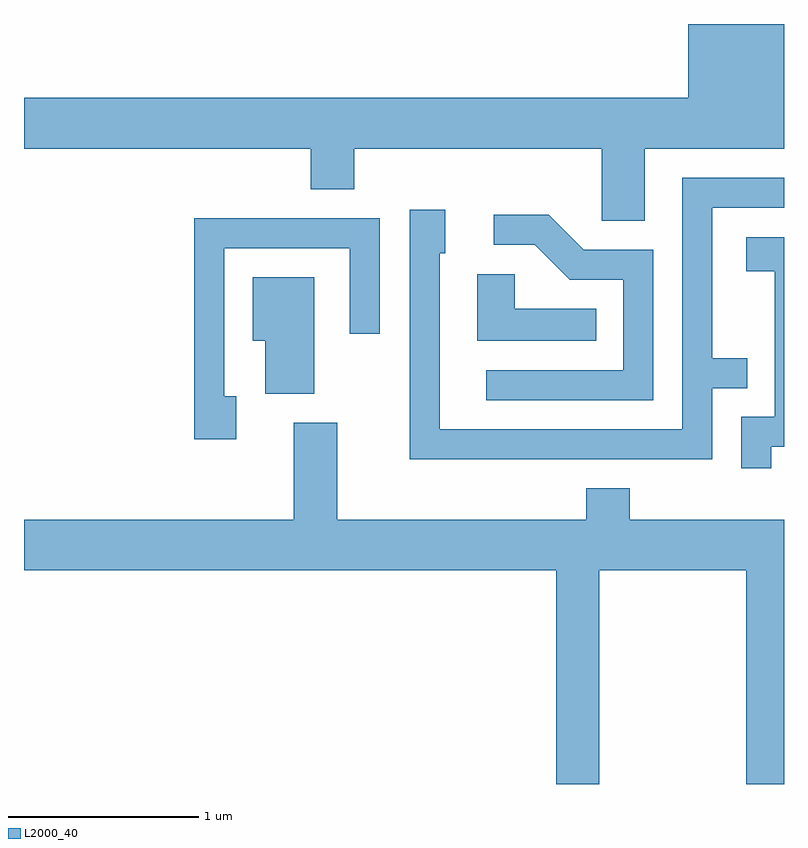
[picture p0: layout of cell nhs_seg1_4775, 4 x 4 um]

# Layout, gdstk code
import gdstk
lib = gdstk.Library(unit=1e-6, precision=1e-09)
def P(c, l, *ps):  # polygons
    for p in ps: c.add(gdstk.Polygon(p, *l))
L2000_40 = (2000, 40)

nhs_seg1_4775 = lib.new_cell('nhs_seg1_4775')
P(nhs_seg1_4775, L2000_40, [(330.879,975.056),(331.611,975.056),(331.611,975.712),(331.106,975.712),(331.106,975.324),(327.611,975.324),(327.611,975.056),(329.121,975.056),(329.121,974.841),(329.349,974.841),(329.349,975.056),(330.651,975.056),(330.651,974.676),(330.879,974.676)],
  [(331.234,973.796),(331.418,973.796),(331.418,973.954),(331.234,973.954),(331.234,974.746),(331.611,974.746),(331.611,974.904),(331.076,974.904),(331.076,973.579),(329.799,973.579),(329.799,974.506),(329.829,974.506),(329.829,974.734),(329.641,974.734),(329.641,973.421),(331.234,973.421)],
  [(330.924,974.524),(330.557,974.524),(330.372,974.709),(330.083,974.709),(330.083,974.551),(330.299,974.551),(330.484,974.366),(330.766,974.366),(330.766,973.889),(330.043,973.889),(330.043,973.731),(330.924,973.731)],
  [(328.729,973.754),(328.664,973.754),(328.664,974.531),(329.326,974.531),(329.326,974.083),(329.484,974.083),(329.484,974.689),(328.506,974.689),(328.506,973.526),(328.729,973.526)],
  [(331.544,973.486),(331.611,973.486),(331.611,974.589),(331.411,974.589),(331.411,974.411),(331.561,974.411),(331.561,973.644),(331.386,973.644),(331.386,973.373),(331.544,973.373)],
  [(330.623,974.214),(330.194,974.214),(330.194,974.394),(329.996,974.394),(329.996,974.046),(330.623,974.046)],
  [(329.139,974.379),(328.816,974.379),(328.816,974.046),(328.881,974.046),(328.881,973.766),(329.139,973.766)],
  [(330.639,972.836),(331.411,972.836),(331.411,971.712),(331.611,971.712),(331.611,973.104),(330.799,973.104),(330.799,973.269),(330.571,973.269),(330.571,973.104),(329.259,973.104),(329.259,973.614),(329.031,973.614),(329.031,973.104),(327.611,973.104),(327.611,972.836),(330.411,972.836),(330.411,971.712),(330.639,971.712)])

lib.write_gds('nhs_seg1_4775.gds')
